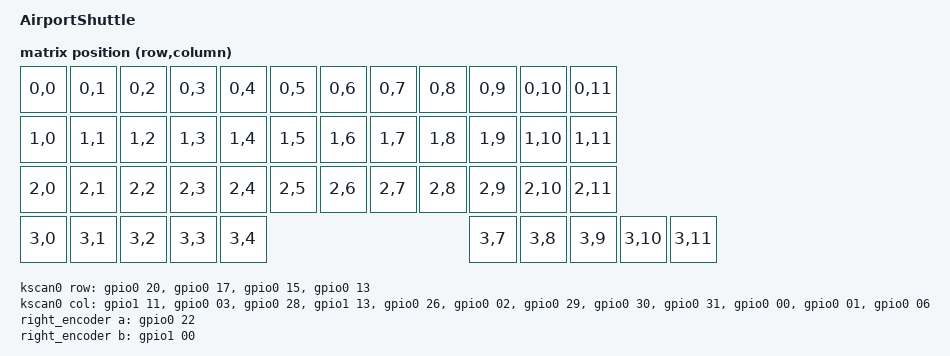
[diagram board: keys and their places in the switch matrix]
#include <dt-bindings/zmk/matrix_transform.h>

/ {
	model = "AirportShuttle";
	compatible = "airport_shuttle";

	chosen {
		zephyr,code-partition = &code_partition;
		zephyr,console = &uart0;
		zephyr,bt-mon-uart = &uart0;
		zephyr,bt-c2h-uart = &uart0;
		zephyr,sram = &sram0;
		zephyr,flash = &flash0;
		zmk,kscan = &kscan0;
		zmk,matrix_transform = &default_transform;
	};

	default_transform: keymap_transform_0 {
		compatible = "zmk,matrix-transform";
		columns = <12>;
		rows = <4>;
		map = <
RC(0,0) RC(0,1) RC(0,2) RC(0,3) RC(0,4) RC(0,5) RC(0,6) RC(0,7) RC(0,8) RC(0,9) RC(0,10) RC(0,11)
RC(1,0) RC(1,1) RC(1,2) RC(1,3) RC(1,4) RC(1,5) RC(1,6) RC(1,7) RC(1,8) RC(1,9) RC(1,10) RC(1,11)
RC(2,0) RC(2,1) RC(2,2) RC(2,3) RC(2,4) RC(2,5) RC(2,6) RC(2,7) RC(2,8) RC(2,9) RC(2,10) RC(2,11)
RC(3,0) RC(3,1) RC(3,2) RC(3,3) RC(3,4)   							RC(3,7) RC(3,8) RC(3,9) RC(3,10) RC(3,11)
		>;
	};

	kscan0: kscan {
		compatible = "zmk,kscan-gpio-matrix";
		label = "KSCAN";
		diode-direction = "col2row";
		row-gpios
			= <&gpio0 20 (GPIO_ACTIVE_HIGH | GPIO_PULL_DOWN)>
			, <&gpio0 17 (GPIO_ACTIVE_HIGH | GPIO_PULL_DOWN)>
			, <&gpio0 15 (GPIO_ACTIVE_HIGH | GPIO_PULL_DOWN)>
			, <&gpio0 13 (GPIO_ACTIVE_HIGH | GPIO_PULL_DOWN)>
			;
		col-gpios
			= <&gpio1 11 GPIO_ACTIVE_HIGH>
			, <&gpio0 03 GPIO_ACTIVE_HIGH>
			, <&gpio0 28 GPIO_ACTIVE_HIGH>
			, <&gpio1 13 GPIO_ACTIVE_HIGH>
			, <&gpio0 26 GPIO_ACTIVE_HIGH>
			, <&gpio0 02 GPIO_ACTIVE_HIGH>
			, <&gpio0 29 GPIO_ACTIVE_HIGH>
			, <&gpio0 30 GPIO_ACTIVE_HIGH>
			, <&gpio0 31 GPIO_ACTIVE_HIGH>
			, <&gpio0 00 GPIO_ACTIVE_HIGH>
			, <&gpio0 01 GPIO_ACTIVE_HIGH>
			, <&gpio0 06 GPIO_ACTIVE_HIGH>
			;
	};


	leds {
		compatible = "gpio-leds";
		blue_led: led_0 {
			gpios = <&gpio1 10 GPIO_ACTIVE_HIGH>;
			label = "Blue LED";
		};
	};

	vbatt {
		compatible = "zmk,battery-voltage-divider";
		label = "BATTERY";
		io-channels = <&adc 2>;
		output-ohms = <2000000>;
		full-ohms = <(2000000 + 820000)>;
	};

	right_encoder: encoder_right {
		compatible = "alps,ec11";
		label = "RIGHT_ENCODER";
		a-gpios = <&gpio0 22 (GPIO_ACTIVE_HIGH | GPIO_PULL_UP)>;
		b-gpios = <&gpio1 00 (GPIO_ACTIVE_HIGH | GPIO_PULL_UP)>;
		resolution = <4>;
	};

	sensors {
		compatible = "zmk,keymap-sensors";
		sensors = <&right_encoder>;
	};
};

&adc {
	status = "okay";
};

&gpio0 {
	status = "okay";
};

&gpio1 {
	status = "okay";
};

&i2c0 {
	compatible = "nordic,nrf-twi";
	sda-pin = <17>;
	scl-pin = <20>;
};


&usbd {
	status = "okay";
};


&flash0 {
	/*
	 * For more information, see:
	 * http://docs.zephyrproject.org/latest/devices/dts/flash_partitions.html
	 */
	partitions {
		compatible = "fixed-partitions";
		#address-cells = <1>;
		#size-cells = <1>;

		boot_partition: partition@0 {
			label = "adafruit_boot";
			reg = <0x000000000 0x0000C000>;
		};
		code_partition: partition@26000 {
			label = "code_partition";
			reg = <0x00026000 0x000d2000>;
		};

		/*
		 * The flash starting at 0x000f8000 and ending at
		 * 0x000fffff is reserved for use by the application.
		 */

		/*
		 * Storage partition will be used by FCB/LittleFS/NVS
		 * if enabled.
		 */
		storage_partition: partition@f8000 {
			label = "storage";
			reg = <0x000f8000 0x00008000>;
		};
	};
};
